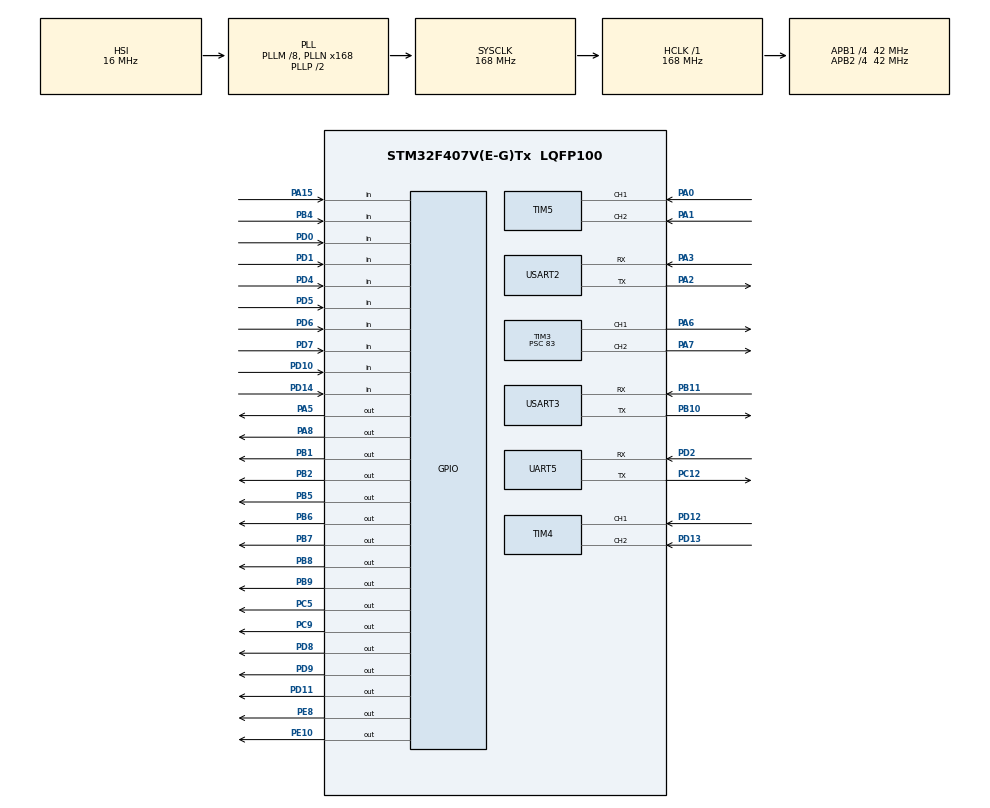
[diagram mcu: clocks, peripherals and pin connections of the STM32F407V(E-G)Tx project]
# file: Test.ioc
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Mcu.Family=STM32F4
Mcu.Name=STM32F407V(E-G)Tx
Mcu.Package=LQFP100
NVIC.PriorityGroup=NVIC_PRIORITYGROUP_4
NVIC.TIM2_IRQn=true\:0\:0\:false\:false\:true\:true\:true\:true
NVIC.UART5_IRQn=true\:0\:0\:false\:false\:true\:true\:true\:true
NVIC.USART2_IRQn=true\:0\:0\:false\:false\:true\:true\:true\:true
NVIC.USART3_IRQn=true\:0\:0\:false\:false\:true\:true\:true\:true
PA0-WKUP.Signal=S_TIM5_CH1
PA1.Signal=S_TIM5_CH2
PA15.GPIO_PuPd=GPIO_PULLUP
PA15.Signal=GPIO_Input
PA2.Mode=Asynchronous
PA2.Signal=USART2_TX
PA3.Mode=Asynchronous
PA3.Signal=USART2_RX
PA5.Signal=GPIO_Output
PA6.Signal=S_TIM3_CH1
PA7.Signal=S_TIM3_CH2
PA8.Signal=GPIO_Output
PB1.Signal=GPIO_Output
PB10.Mode=Asynchronous
PB10.Signal=USART3_TX
PB11.Mode=Asynchronous
PB11.Signal=USART3_RX
PB2.Signal=GPIO_Output
PB4.GPIO_PuPd=GPIO_PULLUP
PB4.Signal=GPIO_Input
PB5.Signal=GPIO_Output
PB6.Signal=GPIO_Output
PB7.Signal=GPIO_Output
PB8.GPIO_ModeDefaultOutputPP=GPIO_MODE_OUTPUT_OD
PB8.GPIO_PuPd=GPIO_PULLUP
PB8.GPIO_Speed=GPIO_SPEED_FREQ_HIGH
PB8.PinState=GPIO_PIN_SET
PB8.Signal=GPIO_Output
PB9.GPIO_ModeDefaultOutputPP=GPIO_MODE_OUTPUT_OD
PB9.GPIO_PuPd=GPIO_PULLUP
PB9.PinState=GPIO_PIN_SET
PB9.Signal=GPIO_Output
PC12.Mode=Asynchronous
PC12.Signal=UART5_TX
PC14-OSC32_IN.Mode=LSE-External-Oscillator
PC14-OSC32_IN.Signal=RCC_OSC32_IN
PC15-OSC32_OUT.Mode=LSE-External-Oscillator
PC15-OSC32_OUT.Signal=RCC_OSC32_OUT
PC5.Signal=GPIO_Output
PC9.Signal=GPIO_Output
PD0.GPIO_Mode=GPIO_MODE_INPUT
PD0.GPIO_PuPd=GPIO_PULLUP
PD0.Signal=GPIO_Input
PD1.GPIO_Mode=GPIO_MODE_INPUT
PD1.GPIO_PuPd=GPIO_PULLUP
PD1.Signal=GPIO_Input
PD10.Signal=GPIO_Input
PD11.Signal=GPIO_Output
PD12.Signal=S_TIM4_CH1
PD13.Signal=S_TIM4_CH2
PD14.Signal=GPIO_Input
PD2.Mode=Asynchronous
PD2.Signal=UART5_RX
PD4.GPIO_Mode=GPIO_MODE_INPUT
PD4.GPIO_PuPd=GPIO_PULLUP
PD4.Signal=GPIO_Input
PD5.GPIO_Mode=GPIO_MODE_INPUT
PD5.GPIO_PuPd=GPIO_PULLUP
PD5.Signal=GPIO_Input
PD6.GPIO_Mode=GPIO_MODE_INPUT
PD6.GPIO_PuPd=GPIO_PULLUP
PD6.Signal=GPIO_Input
PD7.GPIO_Mode=GPIO_MODE_INPUT
PD7.GPIO_PuPd=GPIO_PULLUP
PD7.Signal=GPIO_Input
PD8.Signal=GPIO_Output
PD9.Signal=GPIO_Output
PE10.Signal=GPIO_Output
PE8.Signal=GPIO_Output
PH0-OSC_IN.Mode=HSE-External-Oscillator
PH0-OSC_IN.Signal=RCC_OSC_IN
PH1-OSC_OUT.Mode=HSE-External-Oscillator
PH1-OSC_OUT.Signal=RCC_OSC_OUT
ProjectManager.HeapSize=0x6000
ProjectManager.StackSize=0x4000
ProjectManager.TargetToolchain=MDK-ARM V5.32
RCC.48MHZClocksFreq_Value=84000000
RCC.AHBFreq_Value=168000000
RCC.APB1CLKDivider=RCC_HCLK_DIV4
RCC.APB1Freq_Value=42000000
RCC.APB1TimFreq_Value=84000000
RCC.APB2CLKDivider=RCC_HCLK_DIV4
RCC.APB2Freq_Value=42000000
RCC.APB2TimFreq_Value=84000000
RCC.CortexFreq_Value=168000000
RCC.HCLKFreq_Value=168000000
RCC.HSE_VALUE=25000000
RCC.HSI_VALUE=16000000
RCC.PLLM=8
RCC.PLLN=168
RCC.SYSCLKFreq_VALUE=168000000
RCC.SYSCLKSource=RCC_SYSCLKSOURCE_PLLCLK
RCC.VCOOutputFreq_Value=336000000
SH.S_TIM3_CH1.0=TIM3_CH1,PWM Generation1 CH1
SH.S_TIM3_CH2.0=TIM3_CH2,PWM Generation2 CH2
SH.S_TIM4_CH1.0=TIM4_CH1,Encoder_Interface
SH.S_TIM4_CH2.0=TIM4_CH2,Encoder_Interface
SH.S_TIM5_CH1.0=TIM5_CH1,Encoder_Interface
SH.S_TIM5_CH2.0=TIM5_CH2,Encoder_Interface
TIM2.Period=999
TIM2.Prescaler=83
TIM3.Channel-PWM\ Generation1\ CH1=TIM_CHANNEL_1
TIM3.Channel-PWM\ Generation2\ CH2=TIM_CHANNEL_2
TIM3.Period=999
TIM3.Prescaler=83
TIM4.EncoderMode=TIM_ENCODERMODE_TI12
TIM5.EncoderMode=TIM_ENCODERMODE_TI12
TIM6.Period=65535
TIM6.Prescaler=83
UART5.VirtualMode=Asynchronous
USART2.VirtualMode=VM_ASYNC
USART3.VirtualMode=VM_ASYNC
VP_TIM2_VS_ClockSourceINT.Mode=Internal
VP_TIM3_VS_ClockSourceINT.Mode=Internal
VP_TIM6_VS_ClockSourceINT.Mode=Enable_Timer
board=custom

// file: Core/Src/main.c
/* USER CODE BEGIN Header */
/**
 ******************************************************************************
 * @file           : main.c
 * @brief          : Main program body
 ******************************************************************************
 * @attention
 *
 * Copyright (c) 2026 STMicroelectronics.
 * All rights reserved.
 *
 * This software is licensed under terms that can be found in the LICENSE file
 * in the root directory of this software component.
 * If no LICENSE file comes with this software, it is provided AS-IS.
 *
 ******************************************************************************
 */
/* USER CODE END Header */
#include "main.h"
#include "tim.h"
#include "usart.h"
#include "gpio.h"

/* USER CODE BEGIN Includes */
#include "NRF24L01.h"
#include "MY_IIC.h"
#include "BMP280.h"
#include "ath20.h"
#include "stdio.h"
#include "esp8266.h"
#include "onenet.h"
#include <stdlib.h>
#include "math.h"
#include "OLED.h"
/* USER CODE END Includes */

/* USER CODE BEGIN PTD */
// 功能宏定义（原程序用到的）
#define LK 40
#define RK 70
#define UPLOAD_INTERVAL_MS  500  // 保留：原程序定义过
// 循迹传感器读取宏
#define gethui2() Button_Flag[0]
#define gethui3() Button_Flag[1]
#define gethui4() Button_Flag[2]
#define gethui5() Button_Flag[3]
#define gethui6() Button_Flag[4]
#define gethui7() Button_Flag[5]
#define gethui8() Button_Flag[6]
// ==================== 【第一步：把这两个变量定义放在 main() 函数外面】 ====================
#define DELTA_TRESHOLD   5000      // 限幅阈值：单次变化超过200认为是脏数据
#define SMOOTH_FACTOR    0.70f    // 平滑系数：越小越丝滑 (0.05~0.3)

// PID控制器结构体（原程序核心用到）
typedef struct{
	float kp,ki,kd;
	float error,lastError;
	float integral,maxintegral;
	float output,maxoutput;
}PID;
/* USER CODE END PTD */

/* USER CODE BEGIN PV */
// ====================== PID相关（核心用到） ======================
PID pid_Speed_Z;
PID pid_Speed_Y;
PID pid_Speed_WeiZhi;

// ====================== 硬件/串口相关（用到） ======================
uint8_t p3Data = 0;    // USART3接收数据（中断用到）
uint8_t p5Data = 0;    // UART5接收数据（中断用到）
uint8_t p2Data = 0;    // USART2接收数据（中断用到）
uint8_t ret = 0;       // 传感器初始化返回值（用到）

// ====================== 电机/控制相关（用到） ======================
unsigned int PWM_1=0,PWM_2=0;                // 电机PWM值（核心用到）
unsigned char Button_Flag[10] = {0};         // 循迹传感器状态（核心用到）
uint8_t Dian_Ji_KaiQi=0;                     // 电机使能（遥控/强制）（用到）
uint8_t MY_Dianji_Debug=0;                   // PID调试模式（用到）
unsigned int PWM_Debug_Dier_1=0,PWM_Debug_Dier_2=0; // 调试电机方向（用到）
uint8_t Dian_Ji_KaiQi_anjian=0;              // 电机使能（按键）（用到）
int8_t VAL_DATA = 0;                         // 循迹偏差值（核心用到）
unsigned int fangxiang=0;                    // 电机方向（用到）
unsigned int PWM_1_24G=0,PWM_2_24G=0;        // 2.4G遥控PWM值（用到）

// ====================== 2.4G遥控/NRF相关（原程序有赋值，保留） ======================
unsigned int ADzhi11,My_ADzhi11,Last_ADzhi11; // 恢复：原程序NRF接收赋值
unsigned int ADzhi12,My_ADzhi12,Last_ADzhi12; // 油门AD值（滤波，核心用到）
unsigned int ADzhi21,My_ADzhi21,Last_ADzhi21; // 方向AD值（滤波，核心用到）
unsigned int ADzhi22,My_ADzhi22,Last_ADzhi22; // 恢复：原程序NRF接收赋值
unsigned char anjianzhi[6] = {0};            // 遥控按键状态（核心用到）
unsigned int NRF24L01_Send_Error[5] = {0};   // NRF发送错误计数（用到）
static uint16_t last_valid_ad_final[4] = {0}; // 上一次最终输出的AD值
// ====================== 编码器相关（用到） ======================
int Diretion_Y=0,Diretion_Z=0;               // 编码器方向（用到）
int MY_Counter_Y=0,MY_Counter_Z=0;           // 编码器计数（用到）

// ====================== 陀螺仪相关（用到） ======================
extern char Rx_Data[20];                     // 陀螺仪接收数据（用到）
float Roll,Pitch,Yaw,My_Yaw;                 // 姿态角（核心用到）
float Delta_Yaw,Last_Yaw,Yaw_offset;         // 偏航角修正（用到）
float First_Yaw;                             // 初始偏航角（用到）
int First_Yaw_flag=0;                        // 初始偏航角标志（用到）
int Quan_Shu=0;                              // 偏航角圈数（用到）
float MuBiao_JiaoDu=0;                       // 目标角度（用到）
int MUBIAO_Speed_Z=0,MUBIAO_Speed_Y=0;       // PID目标速度（用到）

// ====================== 传感器相关（用到） ======================
float PT, T, ALT;                            // BMP280数据（函数传参用到，保留）
uint32_t CT_data[2];                         // ATH20原始数据（用到）
int c1, t1;                                  // 温湿度处理值（核心用到）
uint8_t status = 0;                          // 恢复：原程序定义过（编译需要）

// ====================== 通信/OneNet相关（用到） ======================
const char devPubTopic[] = "$sys/nE4HArK3N3/Pena/thing/property/post"; // 用到
const char *devSubTopic[] = {"$sys/nE4HArK3N3/Pena/thing/property/set"}; // 用到
unsigned char *dataPtr = NULL;               // ESP8266接收指针（用到）
extern unsigned int WiFi_Success_Flag;       // WiFi连接标志（用到）
uint8_t Error_Count=0;                       // OneNet连接错误计数（用到）
char PUBLIS_BUF[256] = {0};                  // OneNet发布缓存（核心用到）

// ====================== 计时/标志相关（原程序有赋值/用到，保留） ======================
unsigned int count = 0;                      // 恢复：原程序定义（编译需要）
unsigned int jishi_count = 0;                // 1KHz定时器计数（核心用到）
unsigned int TimeCount=0,TimeCount2=0,TimeCount3=0;       // 上传/发送计数（核心用到）
uint8_t Send_Flag = 1;                       // NRF发送标志（用到）
uint8_t Ce_liang_Flag = 0;                   // 恢复：原程序定义（编译需要）
unsigned int Test_LED_Count = 0;             // LED测试计数（用到）
uint8_t WhilE_Flag=0;                        // 主循环分段标记（用到）
unsigned int bici = 100;                     // LED闪烁周期（用到）
uint8_t Shang_Yun_Flag=1;                    // 上传使能标志（核心用到）
unsigned int Shang_Yun_Run_Flag=0;           // 恢复：原程序赋值（编译需要）
static uint32_t tick_count = 0;              // 恢复：原程序定义（编译需要）
static uint32_t last_send_tick = 0;          // 恢复：原程序定义（编译需要）
uint32_t last_upload_tick=0;                 // 恢复：原程序赋值（编译需要）
// 按键检测变量（用到）
unsigned int val=0,down=0,old=0;
static unsigned int anjian_Count=0;          // 灯光闪烁计数（用到）

// ====================== 调试相关（原程序定义，保留） ======================
unsigned int PWM_1_Dier=0,PWM_2_Dier=0;       // 恢复：原程序定义（编译需要）
unsigned int PWM_Debug_1=1000,PWM_Debug_2=1000; // 恢复：原程序定义（编译需要）
unsigned int *p;                             // 恢复：原程序定义（编译需要）
//extern unsigned char uptMove;
/* USER CODE END PV */

void SystemClock_Config(void);
/* USER CODE BEGIN PFP */
void anjianlx();
void MY_SCAN();
int8_t return_to_expectation(void);
void MY_Run(unsigned int mode);
void PID_Yunxing(PID *pid, float mubiao, float fankuizhi);
void PID_Init(PID *pid, float p, float i, float d, float maxI, float maxOut);
void PID_Yunxing_Weizhi(PID *pid, float mubiao, float fankuizhi);
void JsonValue();
void Set_DianJi(unsigned char dianji,unsigned char fangxiang,unsigned int PWM_VAL);
/* USER CODE END PFP */

int main(void)
{

  /* MCU Configuration--------------------------------------------------------*/

  /* Reset of all peripherals, Initializes the Flash interface and the Systick. */
  HAL_Init();

  /* Configure the system clock */
  SystemClock_Config();

  /* Initialize all configured peripherals */
  MX_GPIO_Init();
  MX_TIM2_Init();
  MX_TIM6_Init();
  MX_USART3_UART_Init();
  MX_UART5_Init();
  MX_USART2_UART_Init();
  MX_TIM3_Init();
  MX_TIM4_Init();
  MX_TIM5_Init();
  /* USER CODE BEGIN 2 */
	HAL_UART_Receive_IT(&huart3, &p3Data, 1);
	HAL_UART_Receive_IT(&huart5, &p5Data, 1);
	HAL_UART_Receive_IT(&huart2, &p2Data, 1);
	HAL_TIM_Encoder_Start(&htim4, TIM_CHANNEL_ALL);
	HAL_TIM_Encoder_Start(&htim5, TIM_CHANNEL_ALL);
	OLED_Init();
//	OLED_ShowString(2,1,"WiFi Initing ...");
  NRF24L01_Init();

	if(Shang_Yun_Flag==1){
  I2C_Bus_Init();
  ret = BMP280_Init();
  if (ret != 0x58)
  {
    while (1)
      ;
  }
  ret = JH_Init(); //
  if (ret == 0)
  {
    while (1)
      ;
  }
	ESP8266_Init();
	if(WiFi_Success_Flag==1){
			while(OneNet_DevLink())//连接Onenet平台,如果失败等待200ms继续尝试。
		{
			HAL_Delay(200);
			Error_Count++;
			if(Error_Count>=5){
				printf("连接失败\r\n");
			return 0;
			}
		}
	}
	else{
				printf("连接失败\r\n");
	}
			/*订阅主题*/
	OneNet_Subscribe(devSubTopic,1);
	last_upload_tick = HAL_GetTick(); // 记录上次上传的时间点
	}

  HAL_TIM_Base_Start_IT(&htim2);
	HAL_TIM_PWM_Start(&htim3, TIM_CHANNEL_1); //
	HAL_TIM_PWM_Start(&htim3, TIM_CHANNEL_2); //
	PID_Init(&pid_Speed_Z, 15, 0.1, 0.05, 200, 450);
	PID_Init(&pid_Speed_Y, 15, 0.1, 0.05, 200, 450);
	PID_Init(&pid_Speed_WeiZhi,50, 0, 0.01, 0, 400);
	__HAL_TIM_SetCompare(&htim3, TIM_CHANNEL_1, 1000);
	__HAL_TIM_SetCompare(&htim3, TIM_CHANNEL_2, 1000);

	Game_Vri_Init();
	OLED_Clear();
	OLED_ShowString(2,5,"Init_OK");
	HAL_Delay(800);
	OLED_Clear();
  /* USER CODE END 2 */

  /* Infinite loop */
  while (1)
  {

    /* USER CODE BEGIN 3 */

		//循迹
		WhilE_Flag=1;
		MY_SCAN();
		VAL_DATA = return_to_expectation();
		MY_Run(Dian_Ji_KaiQi|Dian_Ji_KaiQi_anjian);
		WhilE_Flag=2;
		HAL_UART_Receive_IT(&huart3, &p3Data, 1);
		HAL_UART_Receive_IT(&huart2, &p2Data, 1);
		HAL_UART_Receive_IT(&huart5, &p5Data, 1);
		WhilE_Flag=3;
		if(RX_Re_Data() == 1){   //陀螺仪处理
		Roll = ( float)((int16_t)Rx_Data[1] << 8 | Rx_Data[0]) / 32768 * 180;
		Pitch = (float)((int16_t)Rx_Data[3] << 8 | Rx_Data[2]) / 32768 * 180;
			if(((float)((int16_t)(Rx_Data[5]) << 8 | Rx_Data[4]) / 32768 * 180)<=360&&((float)((int16_t)(Rx_Data[5]) << 8 | Rx_Data[4]) / 32768 * 180)>=0){
		Yaw = (float)((int16_t)(Rx_Data[5]) << 8 | Rx_Data[4]) / 32768 * 180;
			}
		if(First_Yaw_flag==0){
		First_Yaw=Yaw;
			First_Yaw_flag=1;
		}
		Delta_Yaw=Yaw-Last_Yaw;
		if(Delta_Yaw>180.0f){
			Yaw_offset-=360.0f;
			Quan_Shu--;
		}
		else if(Delta_Yaw<-180.0f){
			Yaw_offset+=360.0f;
			Quan_Shu++;
		}
		My_Yaw=Yaw+Yaw_offset;
		Last_Yaw=Yaw;
//		printf("%f,%f,%f\r\n",My_Yaw,Roll,Pitch);
	}
		    Test_LED_Count++;
    if (Test_LED_Count % bici == 0)
    {
      HAL_GPIO_TogglePin(GPIOB, GPIO_PIN_2); //陀螺仪正常执行现象
    }
	WhilE_Flag=4;
    if (Send_Flag == 1)
    {
			if(++TimeCount2>=50){

			TimeCount2=0;
      Send_Flag = 1;
      NRF24L01_TxPacket[0] = t1;
      NRF24L01_TxPacket[1]++;
      NRF24L01_TxPacket[2]++;
      NRF24L01_TxPacket[3]++;
//			NRF24L01_Send();
			switch(NRF24L01_Send()){
				case 0:
					NRF24L01_Send_Error[0]++;
				break;
				case 1:
					NRF24L01_Send_Error[1]++;
				break;
				case 2:
					NRF24L01_Send_Error[2]++;
				break;
				case 3:
					NRF24L01_Send_Error[3]++;
				break;
				case 4:
					NRF24L01_Send_Error[4]++;
				break;
			}
    }
		}

		WhilE_Flag=5;
		//下面注意控制时间

		if(Shang_Yun_Flag==1){

    dataPtr = ESP8266_GetIPD(1);
    if(dataPtr != NULL)
    {
        OneNet_RevPro(dataPtr);
        ESP8266_Clear(); // 【必须加】只有处理完接收才清空
    }

				if(++TimeCount >= 30)
				{
					Shang_Yun_Run_Flag=1;
					JH_Read_CTdata(CT_data);         //较慢
					c1 = CT_data[0] * 1000 / 1024 / 1024;
					t1 = CT_data[1] * 200 * 10 / 1024 / 1024 - 500;
					BMP280GetData(&PT, &T, &ALT);

					JsonValue();
					OneNet_Publish(devPubTopic, PUBLIS_BUF); //非常慢
//					ESP8266_Clear();
					TimeCount = 0;
				}
		}
		WhilE_Flag=6;

// ==================== 【第二步：在 main() 的 while(1) 里用这段替换你原来的接收代码】 ====================
if (NRF24L01_Receive() == 1)
{
    // 只有帧头对了，才进里面处理数据
    if (NRF24L01_RxPacket[0] == 0x11)
    {
        // 1. 先提取所有原始数据
        uint16_t ad1 = (uint16_t)NRF24L01_RxPacket[0+1] * 256 + NRF24L01_RxPacket[1+1];
        uint16_t ad2 = (uint16_t)NRF24L01_RxPacket[2+1] * 256 + NRF24L01_RxPacket[3+1];
        uint16_t ad3 = (uint16_t)NRF24L01_RxPacket[4+1] * 256 + NRF24L01_RxPacket[5+1];
        uint16_t ad4 = (uint16_t)NRF24L01_RxPacket[6+1] * 256 + NRF24L01_RxPacket[7+1];

        // 2. ADzhi11 (丝滑滤波)
        if (ad1 > 0 && ad1 <= 5000 && ad1 != 2056)
        {
            int32_t delta = ad1 - last_valid_ad_final[0];
            if (delta >= -DELTA_TRESHOLD && delta <= DELTA_TRESHOLD)
            {
                ADzhi11 = (uint16_t)(SMOOTH_FACTOR * ad1 + (1.0f - SMOOTH_FACTOR) * last_valid_ad_final[0]);
                last_valid_ad_final[0] = ADzhi11;
            }
        }

        // 3. ADzhi12 (丝滑滤波 + 你的原有逻辑)
        if (ad2 > 0 && ad2 <= 5000 && ad2 != 2056)
        {
            int32_t delta = ad2 - last_valid_ad_final[1];
            if (delta >= -DELTA_TRESHOLD && delta <= DELTA_TRESHOLD)
            {
                ADzhi12 = (uint16_t)(SMOOTH_FACTOR * ad2 + (1.0f - SMOOTH_FACTOR) * last_valid_ad_final[1]);
                My_ADzhi12 = 0.4f * ADzhi12 + 0.6f * Last_ADzhi12;
                Last_ADzhi12 = My_ADzhi12;
                last_valid_ad_final[1] = ADzhi12;
            }
        }

        // 4. ADzhi22 (丝滑滤波)
        if (ad3 > 0 && ad3 <= 5000 && ad3 != 2056)
        {
            int32_t delta = ad3 - last_valid_ad_final[2];
            if (delta >= -DELTA_TRESHOLD && delta <= DELTA_TRESHOLD)
            {
                ADzhi22 = (uint16_t)(SMOOTH_FACTOR * ad3 + (1.0f - SMOOTH_FACTOR) * last_valid_ad_final[2]);
                last_valid_ad_final[2] = ADzhi22;
            }
        }

        // 5. ADzhi21 (丝滑滤波 + 你的原有逻辑)
        if (ad4 > 0 && ad4 <= 5000 && ad4 != 2056)
        {
            int32_t delta = ad4 - last_valid_ad_final[3];
            if (delta >= -DELTA_TRESHOLD && delta <= DELTA_TRESHOLD)
            {
                ADzhi21 = (uint16_t)(SMOOTH_FACTOR * ad4 + (1.0f - SMOOTH_FACTOR) * last_valid_ad_final[3]);
                My_ADzhi21 = 0.4f * ADzhi21 + 0.6f * Last_ADzhi21;
                Last_ADzhi21 = My_ADzhi21;
                last_valid_ad_final[3] = ADzhi21;
            }
        }

        // 6. 解析按键 (保持原样)
        anjianzhi[0] = (NRF24L01_RxPacket[9] >> 6) & 0x01;
        anjianzhi[1] = (NRF24L01_RxPacket[9] >> 5) & 0x01;
        anjianzhi[2] = (NRF24L01_RxPacket[9] >> 4) & 0x01;
        anjianzhi[3] = (NRF24L01_RxPacket[9] >> 3) & 0x01;
        anjianzhi[4] = (NRF24L01_RxPacket[9] >> 1) & 0x03;
        anjianzhi[5] = NRF24L01_RxPacket[9] & 0x01;

        bici = 30;
    }

    // 无论数据好坏，最后都清空一下FIFO，防止残留污染下一包
    NRF24L01_FlushRx();
}

		WhilE_Flag=7;
		if(++TimeCount3>=10){
		TimeCount3=0;
		game1_draw();
		}
//			printf("%d,%d\n",My_ADzhi12,My_ADzhi21);
//		HAL_GPIO_TogglePin(GPIOB, GPIO_PIN_2);
  }
  /* USER CODE END 3 */
}

void SystemClock_Config(void)
{
  RCC_OscInitTypeDef RCC_OscInitStruct = {0};
  RCC_ClkInitTypeDef RCC_ClkInitStruct = {0};

  /** Configure the main internal regulator output voltage
  */
  __HAL_RCC_PWR_CLK_ENABLE();
  __HAL_PWR_VOLTAGESCALING_CONFIG(PWR_REGULATOR_VOLTAGE_SCALE1);

  /** Initializes the RCC Oscillators according to the specified parameters
  * in the RCC_OscInitTypeDef structure.
  */
  RCC_OscInitStruct.OscillatorType = RCC_OSCILLATORTYPE_HSI;
  RCC_OscInitStruct.HSIState = RCC_HSI_ON;
  RCC_OscInitStruct.HSICalibrationValue = RCC_HSICALIBRATION_DEFAULT;
  RCC_OscInitStruct.PLL.PLLState = RCC_PLL_ON;
  RCC_OscInitStruct.PLL.PLLSource = RCC_PLLSOURCE_HSI;
  RCC_OscInitStruct.PLL.PLLM = 8;
  RCC_OscInitStruct.PLL.PLLN = 168;
  RCC_OscInitStruct.PLL.PLLP = RCC_PLLP_DIV2;
  RCC_OscInitStruct.PLL.PLLQ = 4;
  if (HAL_RCC_OscConfig(&RCC_OscInitStruct) != HAL_OK)
  {
    Error_Handler();
  }

  /** Initializes the CPU, AHB and APB buses clocks
  */
  RCC_ClkInitStruct.ClockType = RCC_CLOCKTYPE_HCLK|RCC_CLOCKTYPE_SYSCLK
                              |RCC_CLOCKTYPE_PCLK1|RCC_CLOCKTYPE_PCLK2;
  RCC_ClkInitStruct.SYSCLKSource = RCC_SYSCLKSOURCE_PLLCLK;
  RCC_ClkInitStruct.AHBCLKDivider = RCC_SYSCLK_DIV1;
  RCC_ClkInitStruct.APB1CLKDivider = RCC_HCLK_DIV4;
  RCC_ClkInitStruct.APB2CLKDivider = RCC_HCLK_DIV4;

  if (HAL_RCC_ClockConfig(&RCC_ClkInitStruct, FLASH_LATENCY_5) != HAL_OK)
  {
    Error_Handler();
  }
}

/* USER CODE BEGIN 4 */
void HAL_TIM_PeriodElapsedCallback(TIM_HandleTypeDef *htim)
{
	static unsigned int anjian_Count=0;
  if (htim == (&htim2))  //1KHZ
  {
			if(anjianzhi[0]==1){
			Shang_Yun_Flag=0;
			}
			if(anjianzhi[0]==0){
			Shang_Yun_Flag=1;
			}
		if(Dian_Ji_KaiQi_anjian==1){
		HAL_GPIO_WritePin(GPIOD,GPIO_PIN_8,0);
		}
		else if(Dian_Ji_KaiQi_anjian==0){
		HAL_GPIO_WritePin(GPIOD,GPIO_PIN_8,1);
		}
		if(anjianzhi[4]==1){ //0正常
		if(anjianzhi[5]==1){
		Dian_Ji_KaiQi=1;
		}
		else if(anjianzhi[5]==0){
		Dian_Ji_KaiQi=0;
		}
		}
		else if(anjianzhi[4]==2){ //遥控模式
		Dian_Ji_KaiQi=2;
		MY_Dianji_Debug=0;
		}
		else if(anjianzhi[4]==0){
		Dian_Ji_KaiQi=0;
		}
		if(anjianzhi[1]==1){
		MY_Dianji_Debug=2;
		}
		else if(anjianzhi[1]==0){
		MY_Dianji_Debug=0;
		}
		switch(anjianzhi[4]){  //遥控按键状态 控制小车灯的状态
			case 0:
		if(anjianzhi[2]==1){
		HAL_GPIO_WritePin(GPIOD,GPIO_PIN_9,0);
		}
		else{
		HAL_GPIO_WritePin(GPIOD,GPIO_PIN_9,1);
		}
		if(anjianzhi[3]==1){
		HAL_GPIO_WritePin(GPIOD,GPIO_PIN_11,0);
		}
		else{
		HAL_GPIO_WritePin(GPIOD,GPIO_PIN_11,1);
		}
			break;
			case 1:
		HAL_GPIO_WritePin(GPIOD,GPIO_PIN_9,0);
		HAL_GPIO_WritePin(GPIOD,GPIO_PIN_11,0);
			break;
			case 2:
		anjian_Count++;
		if(anjian_Count%500==0){
		HAL_GPIO_TogglePin(GPIOD,GPIO_PIN_9);
		HAL_GPIO_TogglePin(GPIOD,GPIO_PIN_11);
		}
			break;
		}
    // while(ATH20_Read_Cal_Enable() == 0)
    // {
    //     ATH20_Init();//
    //     HAL_Delay(30);
    // }
		    jishi_count++;
		if(jishi_count%30==0){  //编码器
			Diretion_Y = __HAL_TIM_IS_TIM_COUNTING_DOWN(&htim4);  //you右轮子
			Diretion_Z = -(__HAL_TIM_IS_TIM_COUNTING_DOWN(&htim5)); //zuo左边轮子
			if(__HAL_TIM_GET_COUNTER(&htim4)>=30000){
			MY_Counter_Y = 65535-(__HAL_TIM_GET_COUNTER(&htim4));
			}
			else{
			MY_Counter_Y = __HAL_TIM_GET_COUNTER(&htim4);
			}
			MY_Counter_Z = __HAL_TIM_GET_COUNTER(&htim5);
			__HAL_TIM_SET_COUNTER(&htim4, 0);
			__HAL_TIM_SET_COUNTER(&htim5, 0);
		}
		if(jishi_count%10==0){
			anjianlx();
			if(down==1){
//				if(anjianzhi[4]==0){ //运行模式
				MY_Dianji_Debug=0;
//				uptMove=1;
				Dian_Ji_KaiQi_anjian=1;
//				}
			}
			if(down==2){
//				if(anjianzhi[4]==0){
				MY_Dianji_Debug=0;
//				uptMove=2;
				Dian_Ji_KaiQi_anjian=0;

//				}
			}
		}
		if(MY_Dianji_Debug==1){    //速度环测试
		PID_Yunxing(&pid_Speed_Z, MUBIAO_Speed_Z,abs(MY_Counter_Z));
		PID_Yunxing(&pid_Speed_Y, MUBIAO_Speed_Y,abs(MY_Counter_Y));
		HAL_GPIO_WritePin(GPIOE,GPIO_PIN_10,PWM_Debug_Dier_1);
		HAL_GPIO_WritePin(GPIOB,GPIO_PIN_1,PWM_Debug_Dier_2);
			__HAL_TIM_SetCompare(&htim3, TIM_CHANNEL_1, 1000-pid_Speed_Y.output);
			__HAL_TIM_SetCompare(&htim3, TIM_CHANNEL_2, 1000-pid_Speed_Z.output);
		}
		else if(MY_Dianji_Debug==2){  //方向环测试
		PID_Yunxing_Weizhi(&pid_Speed_WeiZhi,MuBiao_JiaoDu,My_Yaw);
			if(pid_Speed_WeiZhi.output>=0){
			HAL_GPIO_WritePin(GPIOB,GPIO_PIN_1,0);
			}
			else{
			HAL_GPIO_WritePin(GPIOB,GPIO_PIN_1,1);
			}
			__HAL_TIM_SetCompare(&htim3, TIM_CHANNEL_1, 1000-fabsf(pid_Speed_WeiZhi.output));
		}
		else if(MY_Dianji_Debug==3){
		HAL_GPIO_WritePin(GPIOE,GPIO_PIN_10,PWM_Debug_Dier_1);
		HAL_GPIO_WritePin(GPIOB,GPIO_PIN_1,PWM_Debug_Dier_2);
		__HAL_TIM_SetCompare(&htim3, TIM_CHANNEL_1,1000-MUBIAO_Speed_Y);
		__HAL_TIM_SetCompare(&htim3, TIM_CHANNEL_2,1000-MUBIAO_Speed_Z);
		}
  }
}

void Set_DianJi(unsigned char dianji,unsigned char fangxiang,unsigned int PWM_VAL){
	//1,2 1,2 0-1000
	switch(dianji){
	case 1:
		if(fangxiang==0){
		HAL_GPIO_WritePin(GPIOE,GPIO_PIN_10,0);
		HAL_GPIO_WritePin(GPIOB,GPIO_PIN_1,0);
		}
		else if(fangxiang==1){
		HAL_GPIO_WritePin(GPIOE,GPIO_PIN_10,1);
		HAL_GPIO_WritePin(GPIOB,GPIO_PIN_1,1);
		}
		__HAL_TIM_SetCompare(&htim3, TIM_CHANNEL_1, PWM_VAL);
	break;
	case 2:
		if(fangxiang==0){
		HAL_GPIO_WritePin(GPIOE,GPIO_PIN_10,0);
		HAL_GPIO_WritePin(GPIOB,GPIO_PIN_1,0);
		}
		else if(fangxiang==1){
		HAL_GPIO_WritePin(GPIOE,GPIO_PIN_10,1);
		HAL_GPIO_WritePin(GPIOB,GPIO_PIN_1,1);
		}
		__HAL_TIM_SetCompare(&htim3, TIM_CHANNEL_2, PWM_VAL);
	break;
	}
}
char anjianhq(){
	char anjianzhi=0;
	if(HAL_GPIO_ReadPin(GPIOD,GPIO_PIN_10)==0){
	anjianzhi=1;
	}
	if(HAL_GPIO_ReadPin(GPIOD,GPIO_PIN_14)==0){
	anjianzhi=2;
	}
	return anjianzhi;
}
void anjianlx(){
	val=anjianhq();
	down=val&(val^old);
	old=val;
}
void MY_Run(unsigned int mode){  //主程序
	switch(mode){
		case 0: //stop
		PWM_1=1000;
		PWM_2=1000;
		Set_DianJi(1,0,1000);
		Set_DianJi(2,0,1000);
		break;
		case 1: //循迹run
		PWM_1 = 850 - LK * VAL_DATA;
		PWM_2 = 820 + RK * VAL_DATA;
		if (PWM_1 >= 980)
		{
			PWM_1 = 980;
		}
		if (PWM_2 >= 980)
		{
			PWM_2 = 980;
		}
		if (PWM_1 <= 500)
		{
			PWM_1 = 500;
		}
		if (PWM_2 <= 500)
		{
			PWM_2 = 500;
		}
		Set_DianJi(1,0,PWM_1);
		Set_DianJi(2,0,PWM_2);
		break;
		case 2: //2.4G遥控
			if(My_ADzhi12<=2500&&My_ADzhi12>=1500){ //停止
			fangxiang=0;
			PWM_1_24G=0;
			PWM_2_24G=0;
			}
			else if(My_ADzhi12>2500){  //加速
				fangxiang=0;
			PWM_1_24G=(My_ADzhi12-2500)*0.3125;
			PWM_2_24G=(My_ADzhi12-2500)*0.3125;
			}
			else if(My_ADzhi12<1500){
				fangxiang=1;
			PWM_1_24G=(1500-My_ADzhi12)*0.3125;
			PWM_2_24G=(1500-My_ADzhi12)*0.3125;
			}
			if(My_ADzhi21>=3500){ //左转
				PWM_2_24G=PWM_1_24G-200;
			}
			else if(My_ADzhi21<=500){ //右转
				PWM_2_24G=PWM_1_24G+200;
			}
			Set_DianJi(1,fangxiang,1000-PWM_1_24G);
			Set_DianJi(2,fangxiang,1000-PWM_2_24G);
		break;
		case 3:  //Debug控制模式
			Set_DianJi(1,PWM_Debug_Dier_1,1000-MUBIAO_Speed_Z);
			Set_DianJi(2,PWM_Debug_Dier_2,1000-MUBIAO_Speed_Y);
		break;
	}
}
void MY_SCAN()
{
	if (HAL_GPIO_ReadPin(GPIOA, GPIO_PIN_15) == 0)
	{
		Button_Flag[0] = 0;
	}
	else
	{
		Button_Flag[0] = 1;
	}
	if (HAL_GPIO_ReadPin(GPIOD, GPIO_PIN_0) == 0)
	{
		Button_Flag[1] = 0;
	}
	else
	{
		Button_Flag[1] = 1;
	}
	if (HAL_GPIO_ReadPin(GPIOD, GPIO_PIN_1) == 0)
	{
		Button_Flag[2] = 0;
	}
	else
	{
		Button_Flag[2] = 1;
	}
	if (HAL_GPIO_ReadPin(GPIOD, GPIO_PIN_4) == 0)
	{
		Button_Flag[3] = 0;
	}
	else
	{
		Button_Flag[3] = 1;
	}
	if (HAL_GPIO_ReadPin(GPIOD, GPIO_PIN_5) == 0)
	{
		Button_Flag[4] = 0;
	}
	else
	{
		Button_Flag[4] = 1;
	}
	if (HAL_GPIO_ReadPin(GPIOD, GPIO_PIN_6) == 0)
	{
		Button_Flag[5] = 0;
	}
	else
	{
		Button_Flag[5] = 1;
	}
	if (HAL_GPIO_ReadPin(GPIOD, GPIO_PIN_7) == 0)
	{
		Button_Flag[6] = 0;
	}
	else
	{
		Button_Flag[6] = 1;
	}
}
int8_t return_to_expectation(void)
{
	int8_t temp_expectation = 0;
	if ((!gethui2()) && (!gethui3()) && (!gethui4()) && (gethui5()) && (!gethui6()) && (!gethui7()) && (!gethui8())) // 居中
	{
		temp_expectation = 0;
	}
	else if ((!gethui2()) && (!gethui3()) && (gethui4()) && (gethui5()) && (!gethui6()) && (!gethui7()) && (!gethui8())) // 正期望
	{
		temp_expectation = 1;
	}
	else if ((!gethui2()) && (!gethui3()) && (gethui4()) && (!gethui5()) && (!gethui6()) && (!gethui7()) && (!gethui8())) // 正期望
	{
		temp_expectation = 2;
	}
	else if ((!gethui2()) && (gethui3()) && (gethui4()) && (!gethui5()) && (!gethui6()) && (!gethui7()) && (!gethui8())) // 正期望
	{
		temp_expectation = 3;
	}
	else if ((!gethui2()) && (gethui3()) && (!gethui4()) && (!gethui5()) && (!gethui6()) && (!gethui7()) && (!gethui8())) // 正期望
	{
		temp_expectation = 4;
	}
	else if ((gethui2()) && (gethui3()) && (!gethui4()) && (!gethui5()) && (!gethui6()) && (!gethui7()) && (!gethui8())) // 正期望
	{
		temp_expectation = 5;
	}
	else if ((gethui2()) && (!gethui3()) && (!gethui4()) && (!gethui5()) && (!gethui6()) && (!gethui7()) && (!gethui8())) // 正期望
	{
		temp_expectation = 6;
	}
	else if ((!gethui2()) && (!gethui3()) && (!gethui4()) && (gethui5()) && (gethui6()) && (!gethui7()) && (!gethui8())) // 负期望
	{
		temp_expectation = -1;
	}
	else if ((!gethui2()) && (!gethui3()) && (!gethui4()) && (!gethui5()) && (gethui6()) && (!gethui7()) && (!gethui8())) // 负期望
	{
		temp_expectation = -2;
	}
	else if ((!gethui2()) && (!gethui3()) && (!gethui4()) && (!gethui5()) && (gethui6()) && (gethui7()) && (!gethui8())) // 负期望
	{
		temp_expectation = -3;
	}
	else if ((!gethui2()) && (!gethui3()) && (!gethui4()) && (!gethui5()) && (!gethui6()) && (gethui7()) && (!gethui8())) // 负期望
	{
		temp_expectation = -4;
	}
	else if ((!gethui2()) && (!gethui3()) && (!gethui4()) && (!gethui5()) && (!gethui6()) && (gethui7()) && (gethui8())) // 负期望
	{
		temp_expectation = -5;
	}
	else if ((!gethui2()) && (!gethui3()) && (!gethui4()) && (!gethui5()) && (!gethui6()) && (!gethui7()) && (gethui8())) // 负期望
	{
		temp_expectation = -6;
	} // 以上为直线循迹

	else if ((!gethui2()) && (!gethui3()) && (!gethui4()) && (!gethui5()) && (gethui6()) && (gethui7()) && (gethui8())) // 负期望
	{
		temp_expectation = -9;
	}
	else if ((!gethui2()) && (!gethui3()) && (!gethui4()) && (gethui5()) && (gethui6()) && (gethui7()) && (gethui8())) // 负期望
	{
		temp_expectation = -9;
	}
	else if ((!gethui2()) && (!gethui3()) && (gethui4()) && (gethui5()) && (gethui6()) && (gethui7()) && (gethui8())) // 负期望
	{
		temp_expectation = -9;
	}
	else if ((!gethui2()) && (gethui3()) && (gethui4()) && (gethui5()) && (gethui6()) && (gethui7()) && (gethui8())) // 负期望
	{
		temp_expectation = -9;
	}
	else if ((gethui2()) && (gethui3()) && (gethui4()) && (gethui5()) && (gethui6()) && (gethui7()) && (gethui8())) // 负期望
	{
		temp_expectation = 9;
	}
	else if ((gethui2()) && (gethui3()) && (gethui4()) && (gethui5()) && (gethui6()) && (gethui7()) && (!gethui8())) // 负期望
	{
		temp_expectation = 9;
	}
	else if ((gethui2()) && (gethui3()) && (gethui4()) && (gethui5()) && (gethui6()) && (!gethui7()) && (!gethui8())) // 负期望
	{
		temp_expectation = 9;
	}
	else if ((gethui2()) && (gethui3()) && (gethui4()) && (gethui5()) && (!gethui6()) && (!gethui7()) && (!gethui8())) // 负期望
	{
		temp_expectation = 9;
	}
		else if ((gethui2()) && (gethui3()) && (gethui4()) && (!gethui5()) && (!gethui6()) && (!gethui7()) && (!gethui8())) // 负期望
	{
		temp_expectation = 9;
	}
	else if ((!gethui2()) && (!gethui3()) && (!gethui4()) && (!gethui5()) && (!gethui6()) && (!gethui7()) && (!gethui8()))
	{
		temp_expectation = 10;
	}
	// 最后一种没线  全白 //下面拿10作为直角判据（100ms内一直是状态10）
	//	else{
	//		temp_expectation=10;
	//	}
	return temp_expectation;
}
void PID_Init(PID *pid, float p, float i, float d, float maxI, float maxOut)
{
	pid->kp = p;
	pid->ki = i;
	pid->kd = d;
	pid->maxintegral = maxI;
	pid->maxoutput = maxOut;
}

void PID_Yunxing(PID *pid, float mubiao, float fankuizhi)
{
	pid->lastError = pid->error;
	pid->error = mubiao - fankuizhi;
	// 计算微分D
	float Dout = (pid->error - pid->lastError) * pid->kd;
	// 计算比例P
	float Pout = (pid->error) * pid->kp;
	// 计算积分D
	pid->integral += pid->error * pid->ki;
	// 积分限幅
	if (pid->integral > pid->maxintegral)
	{
		pid->integral = pid->maxintegral;
	}
	else if (pid->integral < -pid->maxintegral)
	{
		pid->integral = -pid->maxintegral;
	}
	// out计算
	pid->output = Dout + Pout + pid->integral;
	// 输出限幅
	if (pid->output > pid->maxoutput)
	{
		pid->output = pid->maxoutput;
	}
	else if (pid->output < -pid->maxoutput)
	{
		pid->output = 0;
	}
}
void PID_Yunxing_Weizhi(PID *pid, float mubiao, float fankuizhi)
{
	pid->lastError = pid->error;
	pid->error = mubiao - fankuizhi;
	// 计算微分D
	float Dout = (pid->error - pid->lastError) * pid->kd;
	// 计算比例P
	float Pout = (pid->error) * pid->kp;
	// 计算积分D
	pid->integral += pid->error * pid->ki;
	// 积分限幅
	if (pid->integral > pid->maxintegral)
	{
		pid->integral = pid->maxintegral;
	}
	else if (pid->integral < -pid->maxintegral)
	{
		pid->integral = -pid->maxintegral;
	}
	// out计算
	pid->output = Dout + Pout + pid->integral;
	// 输出限幅
	if (pid->output > pid->maxoutput)
	{
		pid->output = pid->maxoutput;
	}
	else if (pid->output < -pid->maxoutput)
	{
		pid->output = -pid->maxoutput;
	}
}
void JsonValue()
{
	uint8_t Temp = c1;
	uint8_t Hum_D = t1/10;
	uint8_t Hum_X = t1%10;
	float Hum=Hum_D+((float)Hum_X/10);
//	uint8_t Hum = t1/10;
	float qiya=PT;
	uint8_t shidu=c1/10;
	if(Hum<=37&&Hum>=0){
	memset(PUBLIS_BUF, 0, sizeof(PUBLIS_BUF));

	sprintf(PUBLIS_BUF,"{\"id\":\"123\",\"params\":{\"temp_float\":{\"value\":%.1f},\"Qiya\":{\"value\":%.1f},\"ShiDu\":{\"value\":%d}}}",
					Hum,qiya,shidu);
	}
}
/* USER CODE END 4 */

void Error_Handler(void)
{
  __disable_irq();
  while (1)
  {
  }
}
